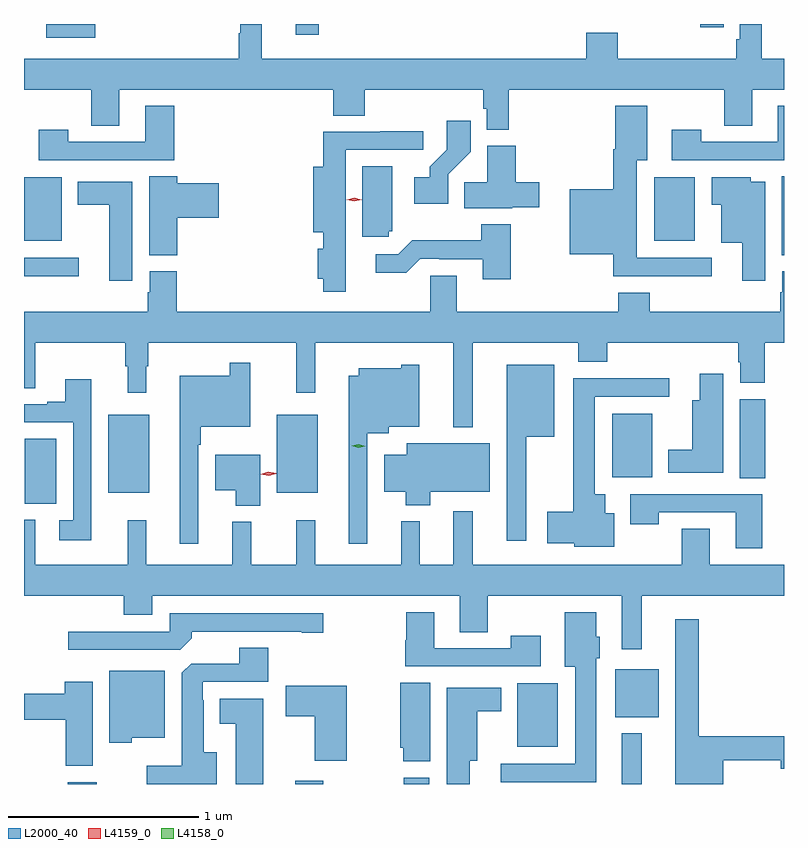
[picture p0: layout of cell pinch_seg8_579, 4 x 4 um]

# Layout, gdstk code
import gdstk
lib = gdstk.Library(unit=1e-6, precision=1e-09)
def R(c, l, rs):  # rectangles x0, y0, x1, y1
    for r in rs: c.add(gdstk.rectangle(r[:2], r[2:], *l))
def P(c, l, *ps):  # polygons
    for p in ps: c.add(gdstk.Polygon(p, *l))
L2000_40 = (2000, 40)
L4158_0 = (4158, 0)
L4159_0 = (4159, 0)

pinch_seg8_579 = lib.new_cell('pinch_seg8_579')
R(pinch_seg8_579, L2000_40, [(122.297,1082.21,122.449,1082.22), (123.494,1082.21,123.642,1082.227), (124.066,1082.21,124.201,1082.244), (125.213,1082.21,125.317,1082.476), (124.664,1082.405,124.876,1082.74), (125.18,1082.561,125.407,1082.815), (122.072,1083.685,122.236,1084.028), (122.51,1083.743,122.725,1084.153), (123.398,1083.743,123.613,1084.153), (125.834,1083.82,125.968,1084.236), (125.162,1083.824,125.374,1084.159), (122.067,1084.883,122.356,1084.98), (126.056,1084.993,126.067,1085.408), (122.067,1085.069,122.266,1085.404), (125.384,1085.069,125.596,1085.404), (122.184,1086.138,122.441,1086.21), (123.497,1086.153,123.619,1086.21), (125.625,1086.192,125.75,1086.21)])
P(pinch_seg8_579, L2000_40, [(124.619,1085.864),(125.752,1085.864),(125.752,1085.674),(125.899,1085.674),(125.899,1085.864),(126.067,1085.864),(126.067,1086.028),(125.951,1086.028),(125.951,1086.21),(125.835,1086.21),(125.835,1086.129),(125.815,1086.129),(125.815,1086.028),(125.192,1086.028),(125.192,1086.164),(125.027,1086.164),(125.027,1086.028),(123.319,1086.028),(123.319,1086.21),(123.205,1086.21),(123.205,1086.161),(123.198,1086.161),(123.198,1086.028),(122.067,1086.028),(122.067,1085.864),(122.422,1085.864),(122.422,1085.674),(122.569,1085.674),(122.569,1085.864),(123.695,1085.864),(123.695,1085.728),(123.86,1085.728),(123.86,1085.864),(124.483,1085.864),(124.483,1085.763),(124.503,1085.763),(124.503,1085.654),(124.619,1085.654)],
  [(126.067,1085.779),(126.035,1085.779),(126.035,1085.589),(125.631,1085.589),(125.631,1085.653),(125.475,1085.653),(125.475,1085.493),(126.067,1085.493)],
  [(125.686,1084.98),(125.293,1084.98),(125.293,1085.492),(125.347,1085.492),(125.347,1085.779),(125.18,1085.779),(125.18,1085.552),(125.168,1085.552),(125.168,1085.341),(124.94,1085.341),(124.94,1084.997),(125.168,1084.997),(125.168,1084.883),(125.686,1084.883)],
  [(122.858,1085.779),(122.705,1085.779),(122.705,1085.589),(122.301,1085.589),(122.301,1085.653),(122.145,1085.653),(122.145,1085.493),(122.858,1085.493)],
  [(124.299,1085.419),(124.418,1085.538),(124.418,1085.701),(124.293,1085.701),(124.293,1085.549),(124.202,1085.459),(124.202,1085.404),(124.122,1085.404),(124.122,1085.264),(124.299,1085.264)],
  [(123.76,1085.547),(124.168,1085.547),(124.168,1085.646),(123.943,1085.646),(123.943,1085.643),(123.643,1085.643),(123.643,1085.458),(123.59,1085.458),(123.59,1085.114),(123.643,1085.114),(123.643,1085.026),(123.614,1085.026),(123.614,1084.868),(123.643,1084.868),(123.643,1084.8),(123.76,1084.8)],
  [(124.638,1085.246),(124.78,1085.246),(124.78,1085.376),(124.655,1085.376),(124.655,1085.569),(124.505,1085.569),(124.505,1085.378),(124.384,1085.378),(124.384,1085.24),(124.638,1085.24)],
  [(123.987,1085.118),(124.006,1085.118),(124.006,1085.462),(123.848,1085.462),(123.848,1085.091),(123.987,1085.091)],
  [(122.873,1085.189),(123.091,1085.189),(123.091,1085.372),(122.873,1085.372),(122.873,1085.408),(122.726,1085.408),(122.726,1084.993),(122.873,1084.993)],
  [(125.968,1085.38),(125.892,1085.38),(125.892,1085.404),(125.687,1085.404),(125.687,1085.258),(125.738,1085.258),(125.738,1085.06),(125.846,1085.06),(125.846,1084.86),(125.968,1084.86)],
  [(122.638,1085.38),(122.351,1085.38),(122.351,1085.258),(122.516,1085.258),(122.516,1084.86),(122.638,1084.86)],
  [(124.629,1085.155),(124.474,1085.155),(124.474,1085.071),(124.111,1085.071),(124.038,1084.998),(123.918,1084.998),(123.918,1084.901),(124.079,1084.901),(124.152,1084.974),(124.252,1084.974),(124.252,1084.971),(124.481,1084.971),(124.481,1084.866),(124.629,1084.866)],
  [(124.429,1084.532),(124.985,1084.532),(124.985,1084.433),(125.138,1084.433),(125.138,1084.532),(125.825,1084.532),(125.825,1084.431),(125.837,1084.431),(125.837,1084.321),(125.965,1084.321),(125.965,1084.532),(126.067,1084.532),(126.067,1084.908),(126.059,1084.908),(126.059,1084.797),(126.047,1084.797),(126.047,1084.696),(125.36,1084.696),(125.36,1084.795),(125.195,1084.795),(125.195,1084.696),(124.345,1084.696),(124.345,1084.886),(124.206,1084.886),(124.206,1084.696),(122.87,1084.696),(122.87,1084.908),(122.729,1084.908),(122.729,1084.797),(122.717,1084.797),(122.717,1084.696),(122.067,1084.696),(122.067,1084.294),(122.125,1084.294),(122.125,1084.532),(122.601,1084.532),(122.601,1084.409),(122.612,1084.409),(122.612,1084.269),(122.71,1084.269),(122.71,1084.409),(122.722,1084.409),(122.722,1084.532),(123.499,1084.532),(123.499,1084.269),(123.6,1084.269),(123.6,1084.532),(124.325,1084.532),(124.325,1084.088),(124.429,1084.088)],
  [(122.985,1083.995),(122.998,1083.995),(122.998,1084.091),(123.258,1084.091),(123.258,1084.426),(123.15,1084.426),(123.15,1084.36),(122.888,1084.36),(122.888,1083.474),(122.985,1083.474)],
  [(123.873,1084.055),(123.988,1084.055),(123.988,1084.091),(124.147,1084.091),(124.147,1084.417),(124.053,1084.417),(124.053,1084.399),(123.83,1084.399),(123.83,1084.36),(123.776,1084.36),(123.776,1083.474),(123.873,1083.474)],
  [(124.711,1084.037),(124.858,1084.037),(124.858,1084.417),(124.607,1084.417),(124.607,1083.489),(124.711,1083.489)],
  [(125.746,1084.369),(125.624,1084.369),(125.624,1084.231),(125.585,1084.231),(125.585,1083.97),(125.459,1083.97),(125.459,1083.848),(125.746,1083.848)],
  [(125.173,1083.634),(125.125,1083.634),(125.125,1083.736),(125.071,1083.736),(125.071,1084.248),(125.464,1084.248),(125.464,1084.346),(124.958,1084.346),(124.958,1083.642),(124.821,1083.642),(124.821,1083.476),(124.962,1083.476),(124.962,1083.458),(125.173,1083.458)],
  [(122.421,1084.339),(122.285,1084.339),(122.285,1084.222),(122.189,1084.222),(122.189,1084.209),(122.067,1084.209),(122.067,1084.113),(122.325,1084.113),(122.325,1083.597),(122.253,1083.597),(122.253,1083.492),(122.421,1083.492)],
  [(124.206,1083.749),(124.519,1083.749),(124.519,1084.003),(124.082,1084.003),(124.082,1083.943),(123.962,1083.943),(123.962,1083.749),(124.076,1083.749),(124.076,1083.677),(124.206,1083.677)],
  [(123.31,1083.943),(123.074,1083.943),(123.074,1083.755),(123.182,1083.755),(123.182,1083.674),(123.31,1083.674)],
  [(125.953,1083.735),(125.258,1083.735),(125.258,1083.576),(125.409,1083.576),(125.409,1083.639),(125.813,1083.639),(125.813,1083.45),(125.953,1083.45)],
  [(125.317,1083.2),(126.067,1083.2),(126.067,1083.364),(125.677,1083.364),(125.677,1083.554),(125.53,1083.554),(125.53,1083.364),(124.429,1083.364),(124.429,1083.646),(124.325,1083.646),(124.325,1083.364),(124.15,1083.364),(124.15,1083.592),(124.052,1083.592),(124.052,1083.364),(123.599,1083.364),(123.599,1083.598),(123.499,1083.598),(123.499,1083.364),(123.264,1083.364),(123.264,1083.589),(123.164,1083.589),(123.164,1083.364),(122.711,1083.364),(122.711,1083.598),(122.612,1083.598),(122.612,1083.364),(122.125,1083.364),(122.125,1083.6),(122.067,1083.6),(122.067,1083.2),(122.591,1083.2),(122.591,1083.101),(122.743,1083.101),(122.743,1083.2),(124.361,1083.2),(124.361,1083.01),(124.509,1083.01),(124.509,1083.2),(125.213,1083.2),(125.213,1082.919),(125.317,1082.919)],
  [(124.786,1082.989),(124.63,1082.989),(124.63,1082.925),(124.225,1082.925),(124.225,1083.115),(124.078,1083.115),(124.078,1082.967),(124.073,1082.967),(124.073,1082.829),(124.786,1082.829)],
  [(125.08,1082.871),(125.098,1082.871),(125.098,1082.985),(125.08,1082.985),(125.08,1083.115),(124.913,1083.115),(124.913,1082.828),(124.967,1082.828),(124.967,1082.316),(124.575,1082.316),(124.575,1082.219),(125.08,1082.219)],
  [(122.951,1082.978),(122.951,1083.012),(123.53,1083.012),(123.53,1083.007),(123.643,1083.007),(123.643,1083.108),(122.835,1083.108),(122.835,1083.012),(122.301,1083.012),(122.301,1082.916),(122.889,1082.916)],
  [(125.746,1082.334),(126.05,1082.334),(126.05,1082.291),(126.067,1082.291),(126.067,1082.462),(125.617,1082.462),(125.617,1083.076),(125.495,1083.076),(125.495,1082.21),(125.746,1082.21)],
  [(123.082,1082.377),(123.013,1082.377),(123.013,1082.651),(123.009,1082.651),(123.009,1082.748),(123.353,1082.748),(123.353,1082.927),(123.2,1082.927),(123.2,1082.844),(122.946,1082.844),(122.897,1082.795),(122.897,1082.305),(122.712,1082.305),(122.712,1082.21),(123.082,1082.21)],
  [(122.634,1082.453),(122.809,1082.453),(122.809,1082.806),(122.516,1082.806),(122.516,1082.426),(122.634,1082.426)],
  [(122.428,1082.749),(122.282,1082.749),(122.282,1082.684),(122.067,1082.684),(122.067,1082.548),(122.287,1082.548),(122.287,1082.305),(122.428,1082.305)],
  [(124.204,1082.744),(124.046,1082.744),(124.046,1082.4),(124.063,1082.4),(124.063,1082.329),(124.204,1082.329)],
  [(123.766,1082.728),(123.444,1082.728),(123.444,1082.566),(123.596,1082.566),(123.596,1082.333),(123.766,1082.333)],
  [(124.414,1082.333),(124.453,1082.333),(124.453,1082.594),(124.579,1082.594),(124.579,1082.716),(124.292,1082.716),(124.292,1082.21),(124.414,1082.21)],
  [(123.325,1082.659),(123.098,1082.659),(123.098,1082.528),(123.182,1082.528),(123.182,1082.21),(123.325,1082.21)])
P(pinch_seg8_579, L4158_0, [(123.826,1083.979),(123.792,1083.99),(123.791,1083.991),(123.792,1083.991),(123.828,1083.999),(123.862,1083.987),(123.863,1083.987),(123.862,1083.987)])
P(pinch_seg8_579, L4159_0, [(123.805,1085.276),(123.765,1085.285),(123.765,1085.286),(123.765,1085.286),(123.805,1085.296),(123.844,1085.286),(123.845,1085.286),(123.844,1085.285)],
  [(123.354,1083.833),(123.313,1083.841),(123.313,1083.841),(123.313,1083.841),(123.353,1083.853),(123.394,1083.845),(123.395,1083.844),(123.394,1083.844)])

lib.write_gds('pinch_seg8_579.gds')
